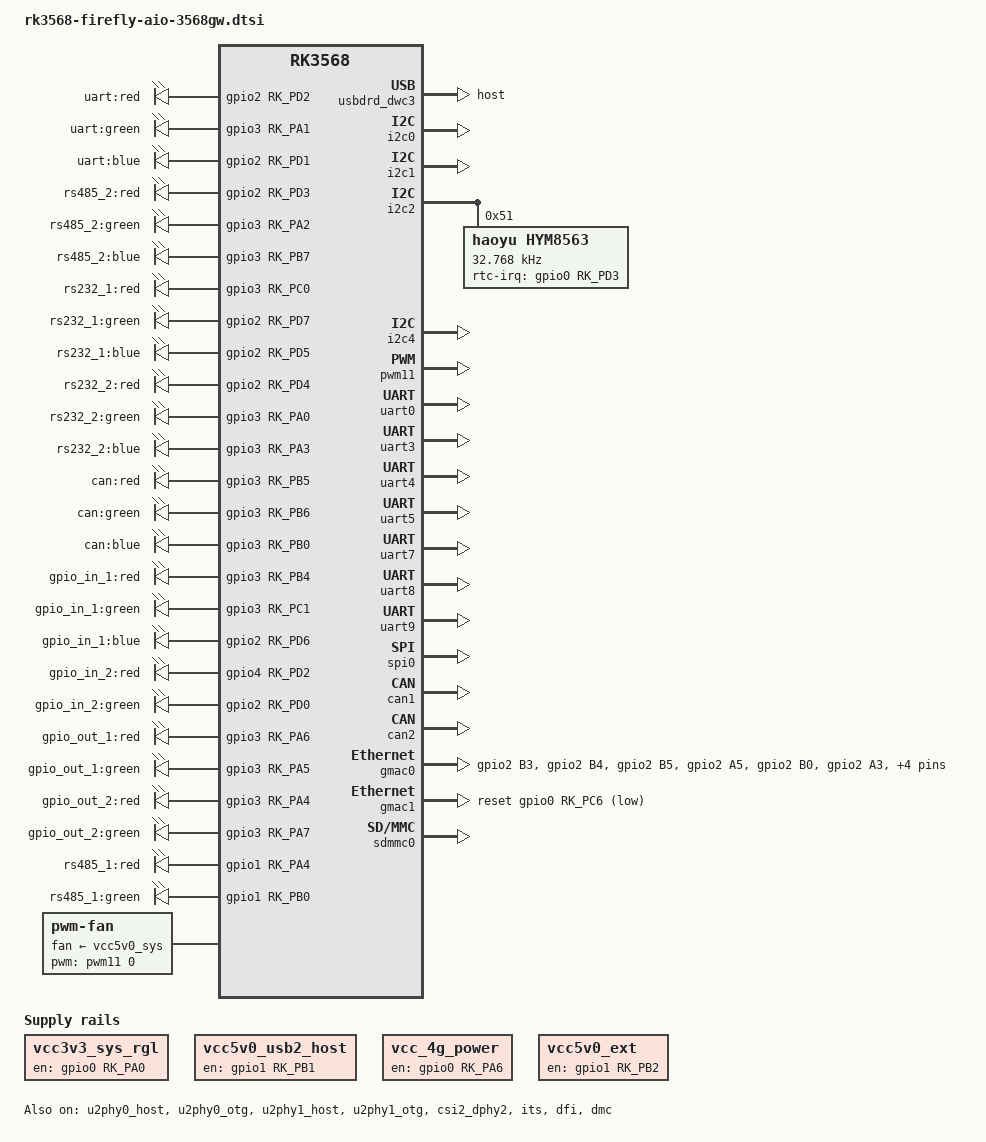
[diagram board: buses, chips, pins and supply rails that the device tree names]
// SPDX-License-Identifier: (GPL-2.0+ OR MIT)
/*
 * Copyright (c) 2020 Rockchip Electronics Co., Ltd.
 *
 */

#include "rk3568-firefly-port.dtsi"

/ {
	vcc3v3_sys_rgl: vcc3v3-sys-regulator {
		compatible = "regulator-fixed";
		enable-active-high;
		gpio = <&gpio0 RK_PA0 GPIO_ACTIVE_HIGH>;
		regulator-name = "vcc3v3_sys_rgl";
		regulator-always-on;
		pinctrl-names = "default";
		pinctrl-0 = <&vcc3v3_sys_rgl_en>;
	};

	vcc5v0_usb2_host: vcc5v0-usb2-host-regulator {
		compatible = "regulator-fixed";
		enable-active-high;
		gpio = <&gpio1 RK_PB1 GPIO_ACTIVE_HIGH>;
		regulator-name = "vcc5v0_usb2_host";
		regulator-always-on;
		pinctrl-names = "default";
		pinctrl-0 = <&vcc5v0_usb2_host_en>;
	};

	vcc_4g_power: vcc-4g-power-regulator {
		compatible = "regulator-fixed";
		enable-active-high;
		gpio = <&gpio0 RK_PA6 GPIO_ACTIVE_HIGH>;
		regulator-name = "vcc_4g_power";
		regulator-always-on;
		pinctrl-names = "default";
		pinctrl-0 = <&vcc_4g_power_en>;
	};

	vcc5v0_ext: vcc5v0-ext-regulator {
		compatible = "regulator-fixed";
		enable-active-high;
		gpio = <&gpio1 RK_PB2 GPIO_ACTIVE_HIGH>;
		regulator-name = "vcc5v0_ext";
		regulator-always-on;
		pinctrl-names = "default";
		pinctrl-0 = <&vcc5v0_ext_en>;
	};

	leds {
		status = "okay";
		compatible = "gpio-leds";

		// UART
		LED1_R {
			default-state = "off";
			gpios = <&gpio2 RK_PD2 GPIO_ACTIVE_HIGH>;
			pinctrl-names = "default";
			pinctrl-0 = <&led1_r_en>;
			linux,default-trigger = "tty";
			label = "uart:red";
		};

		LED1_G {
			default-state = "off";
			gpios = <&gpio3 RK_PA1 GPIO_ACTIVE_HIGH>;
			pinctrl-names = "default";
			pinctrl-0 = <&led1_g_en>;
			linux,default-trigger = "tty";
			label = "uart:green";
		};

		LED1_B {
			default-state = "off";
			gpios = <&gpio2 RK_PD1 GPIO_ACTIVE_HIGH>;
			pinctrl-names = "default";
			pinctrl-0 = <&led1_b_en>;
			linux,default-trigger = "tty";
			label = "uart:blue";
		};

		// RS485_2
		LED2_R {
			default-state = "off";
			gpios = <&gpio2 RK_PD3 GPIO_ACTIVE_HIGH>;
			pinctrl-names = "default";
			pinctrl-0 = <&led2_r_en>;
			linux,default-trigger = "tty";
			label = "rs485_2:red";
		};

		LED2_G {
			default-state = "off";
			gpios = <&gpio3 RK_PA2 GPIO_ACTIVE_HIGH>;
			pinctrl-names = "default";
			pinctrl-0 = <&led2_g_en>;
			linux,default-trigger = "tty";
			label = "rs485_2:green";
		};

		LED2_B {
			default-state = "off";
			gpios = <&gpio3 RK_PB7 GPIO_ACTIVE_HIGH>;
			pinctrl-names = "default";
			pinctrl-0 = <&led2_b_en>;
			linux,default-trigger = "tty";
			label = "rs485_2:blue";
		};

		// RS232_1
		LED3_R {
			default-state = "off";
			gpios = <&gpio3 RK_PC0 GPIO_ACTIVE_HIGH>;
			pinctrl-names = "default";
			pinctrl-0 = <&led3_r_en>;
			linux,default-trigger = "tty";
			label = "rs232_1:red";
		};

		LED3_G {
			default-state = "off";
			gpios = <&gpio2 RK_PD7 GPIO_ACTIVE_HIGH>;
			pinctrl-names = "default";
			pinctrl-0 = <&led3_g_en>;
			linux,default-trigger = "tty";
			label = "rs232_1:green";
		};

		LED3_B {
			default-state = "off";
			gpios = <&gpio2 RK_PD5 GPIO_ACTIVE_HIGH>;
			pinctrl-names = "default";
			pinctrl-0 = <&led3_b_en>;
			linux,default-trigger = "tty";
			label = "rs232_1:blue";
		};

		// RS232_2
		LED4_R {
			default-state = "off";
			gpios = <&gpio2 RK_PD4 GPIO_ACTIVE_HIGH>;
			pinctrl-names = "default";
			pinctrl-0 = <&led4_r_en>;
			linux,default-trigger = "tty";
			label = "rs232_2:red";
		};

		LED4_G {
			default-state = "off";
			gpios = <&gpio3 RK_PA0 GPIO_ACTIVE_HIGH>;
			pinctrl-names = "default";
			pinctrl-0 = <&led4_g_en>;
			linux,default-trigger = "tty";
			label = "rs232_2:green";
		};

		LED4_B {
			default-state = "off";
			gpios = <&gpio3 RK_PA3 GPIO_ACTIVE_HIGH>;
			pinctrl-names = "default";
			pinctrl-0 = <&led4_b_en>;
			linux,default-trigger = "tty";
			label = "rs232_2:blue";
		};

		// CAN
		LED5_R {
			default-state = "off";
			gpios = <&gpio3 RK_PB5 GPIO_ACTIVE_HIGH>;
			pinctrl-names = "default";
			pinctrl-0 = <&led5_r_en>;
			linux,default-trigger = "netdev";
			label = "can:red";
		};

		LED5_G {
			default-state = "off";
			gpios = <&gpio3 RK_PB6 GPIO_ACTIVE_HIGH>;
			pinctrl-names = "default";
			pinctrl-0 = <&led5_g_en>;
			linux,default-trigger = "netdev";
			label = "can:green";
		};

		LED5_B {
			default-state = "off";
			gpios = <&gpio3 RK_PB0 GPIO_ACTIVE_HIGH>;
			pinctrl-names = "default";
			pinctrl-0 = <&led5_b_en>;
			linux,default-trigger = "netdev";
			label = "can:blue";
		};

		// GPIO_IN_1
		LED6_R {
			default-state = "off";
			gpios = <&gpio3 RK_PB4 GPIO_ACTIVE_HIGH>;
			pinctrl-names = "default";
			pinctrl-0 = <&led6_r_en>;
			linux,default-trigger = "gpio";
			label = "gpio_in_1:red";
		};

		LED6_G {
			default-state = "off";
			gpios = <&gpio3 RK_PC1 GPIO_ACTIVE_HIGH>;
			pinctrl-names = "default";
			pinctrl-0 = <&led6_g_en>;
			linux,default-trigger = "gpio";
			label = "gpio_in_1:green";
		};

		LED6_B {
			default-state = "off";
			gpios = <&gpio2 RK_PD6 GPIO_ACTIVE_HIGH>;
			pinctrl-names = "default";
			pinctrl-0 = <&led6_b_en>;
			linux,default-trigger = "gpio";
			label = "gpio_in_1:blue";
		};

		// GPIO_IN_2
		LED7_R {
			default-state = "off";
			gpios = <&gpio4 RK_PD2 GPIO_ACTIVE_HIGH>;
			pinctrl-names = "default";
			pinctrl-0 = <&led7_r_en>;
			linux,default-trigger = "gpio";
			label = "gpio_in_2:red";
		};

		LED7_G {
			default-state = "off";
			gpios = <&gpio2 RK_PD0 GPIO_ACTIVE_HIGH>;
			pinctrl-names = "default";
			pinctrl-0 = <&led7_g_en>;
			linux,default-trigger = "gpio";
			label = "gpio_in_2:green";
		};

		// GPIO_OUT_1
		LED8_R {
			default-state = "off";
			gpios = <&gpio3 RK_PA6 GPIO_ACTIVE_HIGH>;
			pinctrl-names = "default";
			pinctrl-0 = <&led8_r_en>;
			//linux,default-trigger = "gpio";
			label = "gpio_out_1:red";
		};

		LED8_G {
			default-state = "off";
			gpios = <&gpio3 RK_PA5 GPIO_ACTIVE_HIGH>;
			pinctrl-names = "default";
			pinctrl-0 = <&led8_g_en>;
			//linux,default-trigger = "gpio";
			label = "gpio_out_1:green";
		};

		// GPIO_OUT_2
		LED9_R {
			default-state = "off";
			gpios = <&gpio3 RK_PA4 GPIO_ACTIVE_HIGH>;
			pinctrl-names = "default";
			pinctrl-0 = <&led9_r_en>;
			//linux,default-trigger = "gpio";
			label = "gpio_out_2:red";
		};

		LED9_G {
			default-state = "off";
			gpios = <&gpio3 RK_PA7 GPIO_ACTIVE_HIGH>;
			pinctrl-names = "default";
			pinctrl-0 = <&led9_g_en>;
			//linux,default-trigger = "gpio";
			label = "gpio_out_2:green";
		};

		// RS485_1
		LED10_R {
			default-state = "off";
			gpios = <&gpio1 RK_PA4 GPIO_ACTIVE_HIGH>;
			pinctrl-names = "default";
			pinctrl-0 = <&led10_r_en>;
			linux,default-trigger = "tty";
			label = "rs485_1:red";
		};

		LED10_G {
			default-state = "off";
			gpios = <&gpio1 RK_PB0 GPIO_ACTIVE_HIGH>;
			pinctrl-names = "default";
			pinctrl-0 = <&led10_g_en>;
			linux,default-trigger = "tty";
			label = "rs485_1:green";
		};
	};

	fan: pwm-fan {
		compatible = "pwm-fan";
		#cooling-cells = <2>;
		fan-supply = <&vcc5v0_sys>;
		pwms = <&pwm11 0 50000 0>;
	};
};

&vcc5v0_host {
	status = "disabled";
};

&vcc5v0_otg {
	status = "okay";
};

&u2phy0_host {
	phy-supply = <&vcc_4g_power>;
	status = "okay";
};

&u2phy0_otg {
	vbus-supply = <&vcc5v0_otg>;
	status = "okay";
};

&u2phy1_host {
	phy-supply = <&vcc5v0_usb2_host>;
	status = "okay";
};

&u2phy1_otg {
	phy-supply = <&vcc5v0_usb2_host>;
	status = "okay";
};

&usb_host1_ehci {
	status = "disabled";
};

&usb_host1_ohci {
	status = "disabled";
};

&usbdrd_dwc3 {
	dr_mode = "host";
};

&csi2_dphy0 {
	status = "disabled";
};

&csi2_dphy1 {
	status = "disabled";
	/*
	* dphy1 only used for split mode,
	* can be used  concurrently  with dphy2
	* full mode and split mode are mutually exclusive
	*/
};

&csi2_dphy2 {
	status = "okay";
	/*
	* dphy2 only used for split mode,
	* can be used  concurrently  with dphy1
	* full mode and split mode are mutually exclusive
	*/
};

&rkisp_vir0 {
	status = "disabled";
};

&rkisp_vir1 {
	status = "disabled";
};

&i2c0 {
	status = "okay";
};

&i2c1 {
	status = "okay";
};

&i2c2 {
	status = "okay";
	pinctrl-names = "default";
	pinctrl-0 = <&i2c2m1_xfer>;

	hym8563: hym8563@51 {
		status = "okay";
		compatible = "haoyu,hym8563";
		reg = <0x51>;
		#clock-cells = <0>;
		rtc-irq-gpio = <&gpio0 RK_PD3 IRQ_TYPE_EDGE_FALLING>;
		clock-frequency = <32768>;
		clock-output-names = "xin32k";
		wakeup-source;
	};
};

&i2c4 {
	status = "okay";
	pinctrl-names = "default";
	pinctrl-0 = <&i2c4m0_xfer>;
};

&i2c5 {
	status = "disabled";
	/delete-node/ hym8563@51;
	/delete-node/ mxc6655xa@15;
};

&vcc_camera {
	status = "disabled";
};

&pwm4 {
	status = "disabled";
};

&pwm5 {
	status = "disabled";
};

&pwm11 {
	pinctrl-names = "active";
	pinctrl-0 = <&pwm11m1_pins>;
	status = "okay";
};

&pwm14 {
	status = "disabled";
};

&mc3230 {
    status = "disabled";
};

&pca9555 {
    status = "disabled";
};

&uart0 { // rs232_1
	status = "okay";
};

&uart3 { // rs232_2
	pinctrl-names = "default";
	pinctrl-0 = <&uart3m0_xfer>;
	status = "okay";
};

&uart4 { // rs485_1
	pinctrl-names = "default";
	pinctrl-0 = <&uart4m1_xfer>;
	status = "okay";
};

&uart5 { // rs485_2
	pinctrl-names = "default";
	pinctrl-0 = <&uart5m1_xfer>;
	status = "okay";
};

&uart7 {
	pinctrl-names = "default";
	pinctrl-0 = <&uart7m1_xfer>;
	status = "okay";
};

&uart8 {
	pinctrl-names = "default";
	pinctrl-0 = <&uart8m0_xfer>;
	status = "okay";
};

&uart9 {
	pinctrl-names = "default";
	pinctrl-0 = <&uart9m1_xfer>;
	status = "okay";
};

&spi0 {
	pinctrl-names = "default", "high_speed";
	pinctrl-0 = <&spi0m0_cs1 &spi0m0_pins>;
	pinctrl-1 = <&spi0m0_cs1 &spi0m0_pins_hs>;
	status = "okay";
};

&spi1 {
	status = "disabled";
};

&spi_wk2xxx {
	status = "disabled";
};

&pcie30_3v3 {
	status = "disabled";
};

&pcie30phy {
	status = "disabled";
};

&pcie3x2 {
	status = "disabled";
};

&its {
    status = "okay";
};

&can1 {
	compatible = "rockchip,rk3568-can-2.0";
	pinctrl-names = "default";
	pinctrl-0 = <&can1m1_pins>;
	status = "okay";
};

&can2 {
	compatible = "rockchip,rk3568-can-2.0";
	pinctrl-names = "default";
	pinctrl-0 = <&can2m1_pins>;
	status = "okay";
};

/delete-node/ &vcc3v3_vga;

&gmac0 {
	status = "okay";
	tx_delay = <0x43>;
	rx_delay = <0x33>;
	snps,reset-gpio = <&gpio0 RK_PB7 GPIO_ACTIVE_LOW>;

	clock_in_out = "output";
	assigned-clocks = <&cru SCLK_GMAC0_RX_TX>, <&cru SCLK_GMAC0>;
	assigned-clock-rates = <0>, <125000000>;
	assigned-clock-parents = <&cru SCLK_GMAC0_RGMII_SPEED>;

	pinctrl-names = "default";
	pinctrl-0 = <&gmac0_miim
		     &gmac0_tx_bus2
		     &gmac0_rx_bus2
		     &gmac0_rgmii_clk
		     &gmac0_rgmii_bus>;
};

&gmac1 {
	status = "okay";
	tx_delay = <0x4b>;
	rx_delay = <0x2c>;
	snps,reset-gpio = <&gpio0 RK_PC6 GPIO_ACTIVE_LOW>;

	clock_in_out = "output";
	assigned-clocks = <&cru SCLK_GMAC1_RX_TX>, <&cru SCLK_GMAC1>;
	assigned-clock-rates = <0>, <125000000>;
	assigned-clock-parents = <&cru SCLK_GMAC1_RGMII_SPEED>;

	pinctrl-names = "default";
	pinctrl-0 = <&gmac1m1_miim
		     &gmac1m1_tx_bus2
		     &gmac1m1_rx_bus2
		     &gmac1m1_rgmii_clk
		     &gmac1m1_rgmii_bus>;
};

&rgmii_phy0 {
	led_status_value = <0x6940>;
};

&rgmii_phy1 {
	led_status_value = <0x6940>;
};

&sdio_pwrseq {
	status = "disabled";
};

&sdmmc0 {
	status = "okay";
};

&spdif_8ch {
	status = "disabled";
};

&spdif_out {
	status = "disabled";
};

&rk809_sound {
	status = "disabled";
};

&rk809_codec {
	status = "disabled";
};

&rk809 {
    rtc {
        status = "disabled";
    };
};

&pwm7 {
	status = "disabled";
};

&sata2 {
	status = "disabled";
	/delete-property/ pinctrl-0;
};

&pcie2x1 {
	status = "disabled";
};

&dfi {
	status = "okay";
};

&dmc {
	status = "okay";
};

&pinctrl {
	/delete-node/ mxc6655xa;

	power {
		vcc3v3_sys_rgl_en: vcc3v3-sys-rgl-en {
			rockchip,pins = <0 RK_PA0 RK_FUNC_GPIO &pcfg_pull_up>;
		};
	};

	usb2 {
		vcc5v0_usb2_host_en: vcc5v0-usb2-host-en {
			rockchip,pins = <1 RK_PB1 RK_FUNC_GPIO &pcfg_pull_none>;
		};
	};

	vcc_4g {
		vcc_4g_power_en: vcc-4g-power-en {
			rockchip,pins = <0 RK_PA6 RK_FUNC_GPIO &pcfg_pull_none>;
		};
	};

	ext {
		vcc5v0_ext_en: vcc5v0-ext-en {
			rockchip,pins = <1 RK_PB2 RK_FUNC_GPIO &pcfg_pull_up>;
		};
	};

	gmac0 {
		/omit-if-no-ref/
		gmac0_tx_bus2: gmac0-tx-bus2 {
			rockchip,pins =
				/* gmac0_txd0 */
				<2 RK_PB3 1 &pcfg_pull_none_drv_level_5>,
				/* gmac0_txd1 */
				<2 RK_PB4 1 &pcfg_pull_none_drv_level_5>,
				/* gmac0_txen */
				<2 RK_PB5 1 &pcfg_pull_none>;
		};

		/omit-if-no-ref/
		gmac0_rgmii_clk: gmac0-rgmii-clk {
			rockchip,pins =
				/* gmac0_rxclk */
				<2 RK_PA5 2 &pcfg_pull_none>,
				/* gmac0_txclk */
				<2 RK_PB0 2 &pcfg_pull_none_drv_level_5>;
		};

		/omit-if-no-ref/
		gmac0_rgmii_bus: gmac0-rgmii-bus {
			rockchip,pins =
				/* gmac0_rxd2 */
				<2 RK_PA3 2 &pcfg_pull_none>,
				/* gmac0_rxd3 */
				<2 RK_PA4 2 &pcfg_pull_none>,
				/* gmac0_txd2 */
				<2 RK_PA6 2 &pcfg_pull_none_drv_level_5>,
				/* gmac0_txd3 */
				<2 RK_PA7 2 &pcfg_pull_none_drv_level_5>;
		};
	};

	leds {
		led1_r_en: led1-r-en {
			rockchip,pins = <2 RK_PD2 RK_FUNC_GPIO &pcfg_pull_none>;
		};

		led1_g_en: led1-g-en {
			rockchip,pins = <3 RK_PA1 RK_FUNC_GPIO &pcfg_pull_none>;
		};

		led1_b_en: led1-b-en {
			rockchip,pins = <2 RK_PD1 RK_FUNC_GPIO &pcfg_pull_none>;
		};

		led2_r_en: led2-r-en {
			rockchip,pins = <2 RK_PD3 RK_FUNC_GPIO &pcfg_pull_none>;
		};

		led2_g_en: led2-g-en {
			rockchip,pins = <3 RK_PA2 RK_FUNC_GPIO &pcfg_pull_none>;
		};

		led2_b_en: led2-b-en {
			rockchip,pins = <3 RK_PB7 RK_FUNC_GPIO &pcfg_pull_none>;
		};

		led3_r_en: led3-r-en {
			rockchip,pins = <3 RK_PC0 RK_FUNC_GPIO &pcfg_pull_none>;
		};

		led3_g_en: led3-g-en {
			rockchip,pins = <2 RK_PD7 RK_FUNC_GPIO &pcfg_pull_none>;
		};

		led3_b_en: led3-b-en {
			rockchip,pins = <2 RK_PD5 RK_FUNC_GPIO &pcfg_pull_none>;
		};

		led4_r_en: led4-r-en {
			rockchip,pins = <2 RK_PD4 RK_FUNC_GPIO &pcfg_pull_none>;
		};

		led4_g_en: led4-g-en {
			rockchip,pins = <3 RK_PA0 RK_FUNC_GPIO &pcfg_pull_none>;
		};

		led4_b_en: led4-b-en {
			rockchip,pins = <3 RK_PA3 RK_FUNC_GPIO &pcfg_pull_none>;
		};

		led5_r_en: led5-r-en {
			rockchip,pins = <3 RK_PB5 RK_FUNC_GPIO &pcfg_pull_none>;
		};

		led5_g_en: led5-g-en {
			rockchip,pins = <3 RK_PB6 RK_FUNC_GPIO &pcfg_pull_none>;
		};

		led5_b_en: led5-b-en {
			rockchip,pins = <3 RK_PB0 RK_FUNC_GPIO &pcfg_pull_none>;
		};

		led6_r_en: led6-r-en {
			rockchip,pins = <3 RK_PB4 RK_FUNC_GPIO &pcfg_pull_none>;
		};

		led6_g_en: led6-g-en {
			rockchip,pins = <3 RK_PC1 RK_FUNC_GPIO &pcfg_pull_none>;
		};

		led6_b_en: led6-b-en {
			rockchip,pins = <2 RK_PD6 RK_FUNC_GPIO &pcfg_pull_none>;
		};

		led7_r_en: led7-r-en {
			rockchip,pins = <4 RK_PD2 RK_FUNC_GPIO &pcfg_pull_none>;
		};

		led7_g_en: led7-g-en {
			rockchip,pins = <2 RK_PD0 RK_FUNC_GPIO &pcfg_pull_none>;
		};

		led8_r_en: led8-r-en {
			rockchip,pins = <3 RK_PA6 RK_FUNC_GPIO &pcfg_pull_none>;
		};

		led8_g_en: led8-g-en {
			rockchip,pins = <3 RK_PA5 RK_FUNC_GPIO &pcfg_pull_none>;
		};

		led9_r_en: led9-r-en {
			rockchip,pins = <3 RK_PA4 RK_FUNC_GPIO &pcfg_pull_none>;
		};

		led9_g_en: led9-g-en {
			rockchip,pins = <3 RK_PA7 RK_FUNC_GPIO &pcfg_pull_none>;
		};

		led10_r_en: led10-r-en {
			rockchip,pins = <1 RK_PA4 RK_FUNC_GPIO &pcfg_pull_none>;
		};

		led10_g_en: led10-g-en {
			rockchip,pins = <1 RK_PB0 RK_FUNC_GPIO &pcfg_pull_none>;
		};
	};
};
